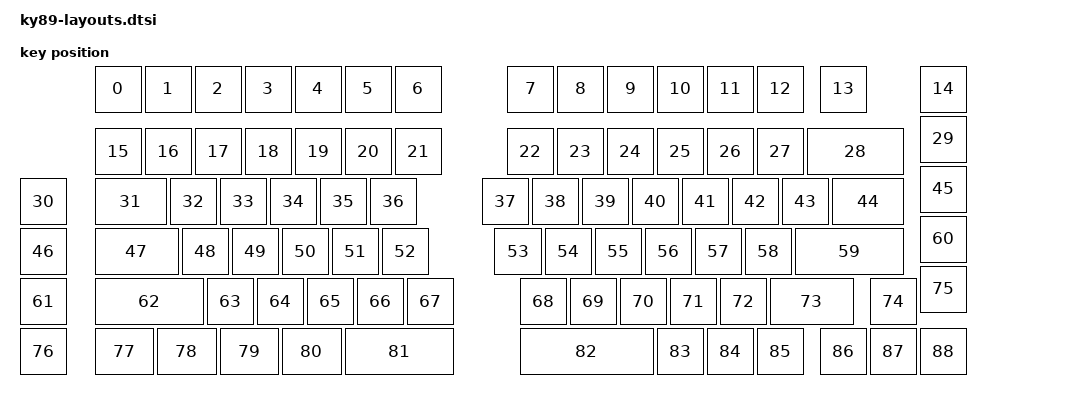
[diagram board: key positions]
#include <physical_layouts.dtsi>

/ {
    ky89_layout:ky89_layout {
        compatible = "zmk,physical-layout";
        display-name = "Ky89";
        transform = <&default_transform>;

        keys  //                     w   h    x    y     rot    rx    ry
            = <&key_physical_attrs 100 100  150    0       0     0     0>
            , <&key_physical_attrs 100 100  250    0       0     0     0>
            , <&key_physical_attrs 100 100  350    0       0     0     0>
            , <&key_physical_attrs 100 100  450    0       0     0     0>
            , <&key_physical_attrs 100 100  550    0       0     0     0>
            , <&key_physical_attrs 100 100  650    0       0     0     0>
            , <&key_physical_attrs 100 100  750    0       0     0     0>
            , <&key_physical_attrs 100 100  975    0       0     0     0>
            , <&key_physical_attrs 100 100 1075    0       0     0     0>
            , <&key_physical_attrs 100 100 1175    0       0     0     0>
            , <&key_physical_attrs 100 100 1275    0       0     0     0>
            , <&key_physical_attrs 100 100 1375    0       0     0     0>
            , <&key_physical_attrs 100 100 1475    0       0     0     0>
            , <&key_physical_attrs 100 100 1600    0       0     0     0>
            , <&key_physical_attrs 100 100 1800    0       0     0     0>
            , <&key_physical_attrs 100 100  150  125       0     0     0>
            , <&key_physical_attrs 100 100  250  125       0     0     0>
            , <&key_physical_attrs 100 100  350  125       0     0     0>
            , <&key_physical_attrs 100 100  450  125       0     0     0>
            , <&key_physical_attrs 100 100  550  125       0     0     0>
            , <&key_physical_attrs 100 100  650  125       0     0     0>
            , <&key_physical_attrs 100 100  750  125       0     0     0>
            , <&key_physical_attrs 100 100  975  125       0     0     0>
            , <&key_physical_attrs 100 100 1075  125       0     0     0>
            , <&key_physical_attrs 100 100 1175  125       0     0     0>
            , <&key_physical_attrs 100 100 1275  125       0     0     0>
            , <&key_physical_attrs 100 100 1375  125       0     0     0>
            , <&key_physical_attrs 100 100 1475  125       0     0     0>
            , <&key_physical_attrs 200 100 1575  125       0     0     0>
            , <&key_physical_attrs 100 100 1800  100       0     0     0>
            , <&key_physical_attrs 100 100    0  225       0     0     0>
            , <&key_physical_attrs 150 100  150  225       0     0     0>
            , <&key_physical_attrs 100 100  300  225       0     0     0>
            , <&key_physical_attrs 100 100  400  225       0     0     0>
            , <&key_physical_attrs 100 100  500  225       0     0     0>
            , <&key_physical_attrs 100 100  600  225       0     0     0>
            , <&key_physical_attrs 100 100  700  225       0     0     0>
            , <&key_physical_attrs 100 100  925  225       0     0     0>
            , <&key_physical_attrs 100 100 1025  225       0     0     0>
            , <&key_physical_attrs 100 100 1125  225       0     0     0>
            , <&key_physical_attrs 100 100 1225  225       0     0     0>
            , <&key_physical_attrs 100 100 1325  225       0     0     0>
            , <&key_physical_attrs 100 100 1425  225       0     0     0>
            , <&key_physical_attrs 100 100 1525  225       0     0     0>
            , <&key_physical_attrs 150 100 1625  225       0     0     0>
            , <&key_physical_attrs 100 100 1800  200       0     0     0>
            , <&key_physical_attrs 100 100    0  325       0     0     0>
            , <&key_physical_attrs 175 100  150  325       0     0     0>
            , <&key_physical_attrs 100 100  325  325       0     0     0>
            , <&key_physical_attrs 100 100  425  325       0     0     0>
            , <&key_physical_attrs 100 100  525  325       0     0     0>
            , <&key_physical_attrs 100 100  625  325       0     0     0>
            , <&key_physical_attrs 100 100  725  325       0     0     0>
            , <&key_physical_attrs 100 100  950  325       0     0     0>
            , <&key_physical_attrs 100 100 1050  325       0     0     0>
            , <&key_physical_attrs 100 100 1150  325       0     0     0>
            , <&key_physical_attrs 100 100 1250  325       0     0     0>
            , <&key_physical_attrs 100 100 1350  325       0     0     0>
            , <&key_physical_attrs 100 100 1450  325       0     0     0>
            , <&key_physical_attrs 225 100 1550  325       0     0     0>
            , <&key_physical_attrs 100 100 1800  300       0     0     0>
            , <&key_physical_attrs 100 100    0  425       0     0     0>
            , <&key_physical_attrs 225 100  150  425       0     0     0>
            , <&key_physical_attrs 100 100  375  425       0     0     0>
            , <&key_physical_attrs 100 100  475  425       0     0     0>
            , <&key_physical_attrs 100 100  575  425       0     0     0>
            , <&key_physical_attrs 100 100  675  425       0     0     0>
            , <&key_physical_attrs 100 100  775  425       0     0     0>
            , <&key_physical_attrs 100 100 1000  425       0     0     0>
            , <&key_physical_attrs 100 100 1100  425       0     0     0>
            , <&key_physical_attrs 100 100 1200  425       0     0     0>
            , <&key_physical_attrs 100 100 1300  425       0     0     0>
            , <&key_physical_attrs 100 100 1400  425       0     0     0>
            , <&key_physical_attrs 175 100 1500  425       0     0     0>
            , <&key_physical_attrs 100 100 1700  425       0     0     0>
            , <&key_physical_attrs 100 100 1800  400       0     0     0>
            , <&key_physical_attrs 100 100    0  525       0     0     0>
            , <&key_physical_attrs 125 100  150  525       0     0     0>
            , <&key_physical_attrs 125 100  275  525       0     0     0>
            , <&key_physical_attrs 125 100  400  525       0     0     0>
            , <&key_physical_attrs 125 100  525  525       0     0     0>
            , <&key_physical_attrs 225 100  650  525       0     0     0>
            , <&key_physical_attrs 275 100 1000  525       0     0     0>
            , <&key_physical_attrs 100 100 1275  525       0     0     0>
            , <&key_physical_attrs 100 100 1375  525       0     0     0>
            , <&key_physical_attrs 100 100 1475  525       0     0     0>
            , <&key_physical_attrs 100 100 1600  525       0     0     0>
            , <&key_physical_attrs 100 100 1700  525       0     0     0>
            , <&key_physical_attrs 100 100 1800  525       0     0     0>
            ;
    };
};
